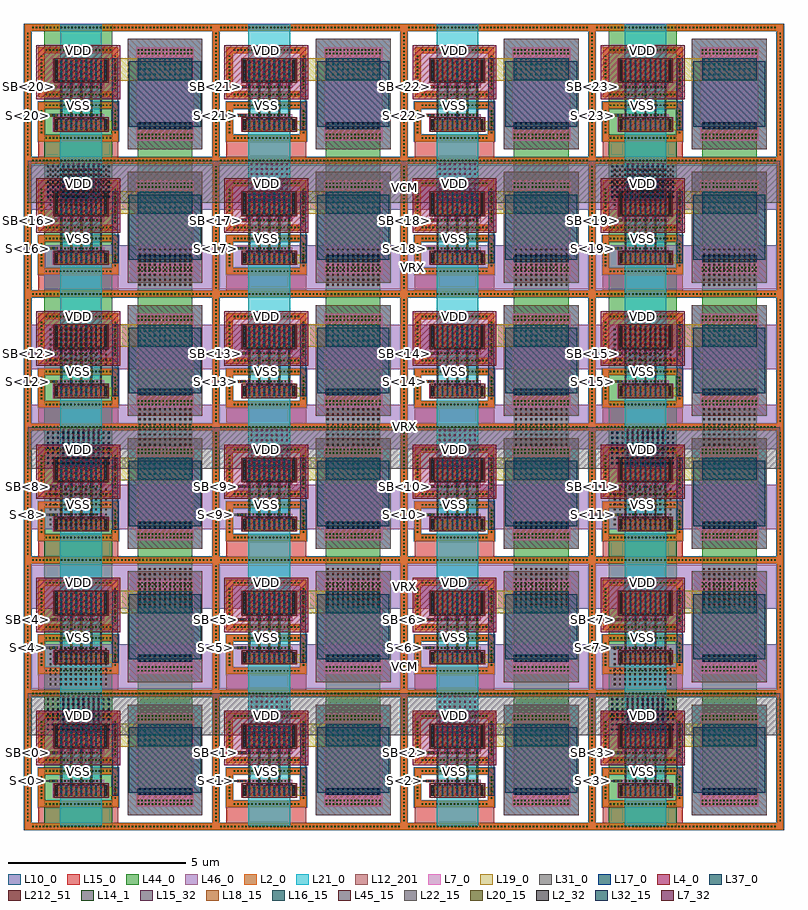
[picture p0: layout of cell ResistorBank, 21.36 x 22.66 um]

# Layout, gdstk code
import gdstk
lib = gdstk.Library(unit=1e-6, precision=1e-09)
def R(c, l, rs):  # rectangles x0, y0, x1, y1
    for r in rs: c.add(gdstk.rectangle(r[:2], r[2:], *l))
def A(c, l, x, y, w, h, nx, ny, dx, dy):  # array of equal rectangles
    R(c, l, [(x+i*dx, y+j*dy, x+i*dx+w, y+j*dy+h) for i in range(nx) for j in range(ny)])
L2_0 = (2, 0)
L2_32 = (2, 32)
L4_0 = (4, 0)
L7_0 = (7, 0)
L7_32 = (7, 32)
L10_0 = (10, 0)
L12_201 = (12, 201)
L14_1 = (14, 1)
L15_0 = (15, 0)
L15_32 = (15, 32)
L16_15 = (16, 15)
L17_0 = (17, 0)
L18_15 = (18, 15)
L19_0 = (19, 0)
L20_15 = (20, 15)
L21_0 = (21, 0)
L22_15 = (22, 15)
L31_0 = (31, 0)
L32_15 = (32, 15)
L37_0 = (37, 0)
L44_0 = (44, 0)
L45_15 = (45, 15)
L46_0 = (46, 0)
L212_51 = (212, 51)

nmosintransmissiongate = lib.new_cell('NMOSInTransmissionGate')
R(nmosintransmissiongate, L2_0, [(-0.728,-0.146,0.728,0.146)])
R(nmosintransmissiongate, L2_32, [(-0.728,-0.146,-0.652,0.146), (0.652,-0.146,0.728,0.146)])
A(nmosintransmissiongate, L7_0, -0.792, -0.203, 0.044, 0.406, 12, 1, 0.14, 0)
A(nmosintransmissiongate, L7_32, -0.652, -0.203, 0.044, 0.057, 10, 1, 0.14, 0)
A(nmosintransmissiongate, L14_1, -0.72, -0.07, 0.04, 0.04, 11, 2, 0.14, 0.1)
A(nmosintransmissiongate, L15_0, -0.725, -0.146, 0.05, 0.292, 11, 1, 0.14, 0)
A(nmosintransmissiongate, L15_32, -0.725, -0.146, 0.05, 0.292, 11, 1, 0.14, 0)
R(nmosintransmissiongate, L212_51, [(-0.77,-0.202,0.77,0.202)])

pmosintransmissiongate = lib.new_cell('PMOSInTransmissionGate')
R(pmosintransmissiongate, L2_0, [(-0.728,-0.292,0.728,0.292)])
R(pmosintransmissiongate, L2_32, [(-0.728,-0.292,-0.652,0.292), (0.652,-0.292,0.728,0.292)])
A(pmosintransmissiongate, L7_0, -0.792, -0.349, 0.044, 0.698, 12, 1, 0.14, 0)
A(pmosintransmissiongate, L7_32, -0.652, -0.349, 0.044, 0.057, 10, 1, 0.14, 0)
R(pmosintransmissiongate, L10_0, [(-0.784,-0.349,0.784,0.349)])
A(pmosintransmissiongate, L14_1, -0.72, -0.22, 0.04, 0.04, 11, 5, 0.14, 0.1)
A(pmosintransmissiongate, L15_0, -0.725, -0.292, 0.05, 0.584, 11, 1, 0.14, 0)
A(pmosintransmissiongate, L15_32, -0.725, -0.292, 0.05, 0.584, 11, 1, 0.14, 0)
R(pmosintransmissiongate, L212_51, [(-0.77,-0.348,0.77,0.348)])

viamet12met2onpmosoutput = lib.new_cell('ViaMet12Met2OnPMOSOutputInTransmissionGate')
R(viamet12met2onpmosoutput, L15_0, [(-0.025,-0.317,0.025,0.317)])
A(viamet12met2onpmosoutput, L16_15, -0.025, -0.285, 0.05, 0.05, 1, 5, 0, 0.13)
R(viamet12met2onpmosoutput, L17_0, [(-0.025,-0.317,0.025,0.317)])

viamet22met3onpmosoutput = lib.new_cell('ViaMet22Met3OnPMOSOutputInTransmissionGate')
R(viamet22met3onpmosoutput, L17_0, [(-0.025,-0.317,0.025,0.317)])
A(viamet22met3onpmosoutput, L18_15, -0.025, -0.285, 0.05, 0.05, 1, 5, 0, 0.13)
R(viamet22met3onpmosoutput, L19_0, [(-0.025,-0.317,0.025,0.317)])

viamet12met2onnmosoutput = lib.new_cell('ViaMet12Met2OnNMOSOutputInTransmissionGate')
R(viamet12met2onnmosoutput, L15_0, [(-0.025,-0.122,0.025,0.122)])
R(viamet12met2onnmosoutput, L16_15, [(-0.025,-0.09,0.025,-0.04), (-0.025,0.04,0.025,0.09)])
R(viamet12met2onnmosoutput, L17_0, [(-0.025,-0.122,0.025,0.122)])

viamet22met3onnmosoutput = lib.new_cell('ViaMet22Met3OnNMOSOutputInTransmissionGate')
R(viamet22met3onnmosoutput, L17_0, [(-0.025,-0.122,0.025,0.122)])
R(viamet22met3onnmosoutput, L18_15, [(-0.025,-0.09,0.025,-0.04), (-0.025,0.04,0.025,0.09)])
R(viamet22met3onnmosoutput, L19_0, [(-0.025,-0.122,0.025,0.122)])

viapoly2met1onpmoscontro = lib.new_cell('ViaPoly2Met1OnPMOSControlInTransmissionGate')
R(viapoly2met1onpmoscontro, L7_0, [(-0.58,-0.03,0.58,0.03)])
A(viapoly2met1onpmoscontro, L14_1, -0.57, -0.02, 0.04, 0.04, 12, 1, 0.1, 0)
R(viapoly2met1onpmoscontro, L15_0, [(-0.591,-0.041,0.591,0.041)])

viapoly2met1onnmoscontro = lib.new_cell('ViaPoly2Met1OnNMOSControlInTransmissionGate')
R(viapoly2met1onnmoscontro, L7_0, [(-0.58,-0.03,0.58,0.03)])
A(viapoly2met1onnmoscontro, L14_1, -0.57, -0.02, 0.04, 0.04, 12, 1, 0.1, 0)
R(viapoly2met1onnmoscontro, L15_0, [(-0.591,-0.041,0.591,0.041)])

transmissiongateinresist = lib.new_cell('TransmissionGateInResistorBank')
transmissiongateinresist.add(gdstk.FlexPath([(-0.63,0.379),(-0.63,0.674)], 0.044, ends="flush", simple_path=True, layer=7, datatype=0))  # L7_0
transmissiongateinresist.add(gdstk.FlexPath([(-0.49,0.379),(-0.49,0.674)], 0.044, ends="flush", simple_path=True, layer=7, datatype=0))  # L7_0
transmissiongateinresist.add(gdstk.FlexPath([(-0.35,0.379),(-0.35,0.674)], 0.044, ends="flush", simple_path=True, layer=7, datatype=0))  # L7_0
transmissiongateinresist.add(gdstk.FlexPath([(-0.21,0.379),(-0.21,0.674)], 0.044, ends="flush", simple_path=True, layer=7, datatype=0))  # L7_0
transmissiongateinresist.add(gdstk.FlexPath([(-0.07,0.379),(-0.07,0.674)], 0.044, ends="flush", simple_path=True, layer=7, datatype=0))  # L7_0
transmissiongateinresist.add(gdstk.FlexPath([(0.07,0.379),(0.07,0.674)], 0.044, ends="flush", simple_path=True, layer=7, datatype=0))  # L7_0
transmissiongateinresist.add(gdstk.FlexPath([(0.21,0.379),(0.21,0.674)], 0.044, ends="flush", simple_path=True, layer=7, datatype=0))  # L7_0
transmissiongateinresist.add(gdstk.FlexPath([(0.35,0.379),(0.35,0.674)], 0.044, ends="flush", simple_path=True, layer=7, datatype=0))  # L7_0
transmissiongateinresist.add(gdstk.FlexPath([(0.49,0.379),(0.49,0.674)], 0.044, ends="flush", simple_path=True, layer=7, datatype=0))  # L7_0
transmissiongateinresist.add(gdstk.FlexPath([(0.63,0.379),(0.63,0.674)], 0.044, ends="flush", simple_path=True, layer=7, datatype=0))  # L7_0
transmissiongateinresist.add(gdstk.FlexPath([(-0.63,1.898),(-0.63,1.408)], 0.044, ends="flush", simple_path=True, layer=7, datatype=0))  # L7_0
transmissiongateinresist.add(gdstk.FlexPath([(-0.49,1.898),(-0.49,1.408)], 0.044, ends="flush", simple_path=True, layer=7, datatype=0))  # L7_0
transmissiongateinresist.add(gdstk.FlexPath([(-0.35,1.898),(-0.35,1.408)], 0.044, ends="flush", simple_path=True, layer=7, datatype=0))  # L7_0
transmissiongateinresist.add(gdstk.FlexPath([(-0.21,1.898),(-0.21,1.408)], 0.044, ends="flush", simple_path=True, layer=7, datatype=0))  # L7_0
transmissiongateinresist.add(gdstk.FlexPath([(-0.07,1.898),(-0.07,1.408)], 0.044, ends="flush", simple_path=True, layer=7, datatype=0))  # L7_0
transmissiongateinresist.add(gdstk.FlexPath([(0.07,1.898),(0.07,1.408)], 0.044, ends="flush", simple_path=True, layer=7, datatype=0))  # L7_0
transmissiongateinresist.add(gdstk.FlexPath([(0.21,1.898),(0.21,1.408)], 0.044, ends="flush", simple_path=True, layer=7, datatype=0))  # L7_0
transmissiongateinresist.add(gdstk.FlexPath([(0.35,1.898),(0.35,1.408)], 0.044, ends="flush", simple_path=True, layer=7, datatype=0))  # L7_0
transmissiongateinresist.add(gdstk.FlexPath([(0.49,1.898),(0.49,1.408)], 0.044, ends="flush", simple_path=True, layer=7, datatype=0))  # L7_0
transmissiongateinresist.add(gdstk.FlexPath([(0.63,1.898),(0.63,1.408)], 0.044, ends="flush", simple_path=True, layer=7, datatype=0))  # L7_0
transmissiongateinresist.add(gdstk.FlexPath([(-0.63,0.644),(0.63,0.644)], 0.06, ends="flush", simple_path=True, layer=7, datatype=0))  # L7_0
transmissiongateinresist.add(gdstk.FlexPath([(-0.63,1.438),(0.63,1.438)], 0.06, ends="flush", simple_path=True, layer=7, datatype=0))  # L7_0
transmissiongateinresist.add(gdstk.Reference(nmosintransmissiongate, (0,0.379), x_reflection=True))
transmissiongateinresist.add(gdstk.Reference(pmosintransmissiongate, (0,1.898)))
transmissiongateinresist.add(gdstk.Reference(viamet12met2onpmosoutput, (-0.56,1.866)))
transmissiongateinresist.add(gdstk.Reference(viamet12met2onpmosoutput, (-0.28,1.866)))
transmissiongateinresist.add(gdstk.Reference(viamet12met2onpmosoutput, (0,1.866)))
transmissiongateinresist.add(gdstk.Reference(viamet12met2onpmosoutput, (0.28,1.866)))
transmissiongateinresist.add(gdstk.Reference(viamet12met2onpmosoutput, (0.56,1.866)))
transmissiongateinresist.add(gdstk.Reference(viamet12met2onpmosoutput, (-0.7,1.93)))
transmissiongateinresist.add(gdstk.Reference(viamet12met2onpmosoutput, (-0.42,1.93)))
transmissiongateinresist.add(gdstk.Reference(viamet12met2onpmosoutput, (-0.14,1.93)))
transmissiongateinresist.add(gdstk.Reference(viamet12met2onpmosoutput, (0.14,1.93)))
transmissiongateinresist.add(gdstk.Reference(viamet12met2onpmosoutput, (0.42,1.93)))
transmissiongateinresist.add(gdstk.Reference(viamet12met2onpmosoutput, (0.7,1.93)))
transmissiongateinresist.add(gdstk.Reference(viamet22met3onpmosoutput, (-0.7,1.93)))
transmissiongateinresist.add(gdstk.Reference(viamet22met3onpmosoutput, (-0.42,1.93)))
transmissiongateinresist.add(gdstk.Reference(viamet22met3onpmosoutput, (-0.14,1.93)))
transmissiongateinresist.add(gdstk.Reference(viamet22met3onpmosoutput, (0.14,1.93)))
transmissiongateinresist.add(gdstk.Reference(viamet22met3onpmosoutput, (0.42,1.93)))
transmissiongateinresist.add(gdstk.Reference(viamet22met3onpmosoutput, (0.7,1.93)))
transmissiongateinresist.add(gdstk.Reference(viamet12met2onnmosoutput, (-0.56,0.411)))
transmissiongateinresist.add(gdstk.Reference(viamet12met2onnmosoutput, (-0.28,0.411)))
transmissiongateinresist.add(gdstk.Reference(viamet12met2onnmosoutput, (0,0.411)))
transmissiongateinresist.add(gdstk.Reference(viamet12met2onnmosoutput, (0.28,0.411)))
transmissiongateinresist.add(gdstk.Reference(viamet12met2onnmosoutput, (0.56,0.411)))
transmissiongateinresist.add(gdstk.Reference(viamet12met2onnmosoutput, (-0.7,0.347)))
transmissiongateinresist.add(gdstk.Reference(viamet12met2onnmosoutput, (-0.42,0.347)))
transmissiongateinresist.add(gdstk.Reference(viamet12met2onnmosoutput, (-0.14,0.347)))
transmissiongateinresist.add(gdstk.Reference(viamet12met2onnmosoutput, (0.14,0.347)))
transmissiongateinresist.add(gdstk.Reference(viamet12met2onnmosoutput, (0.42,0.347)))
transmissiongateinresist.add(gdstk.Reference(viamet12met2onnmosoutput, (0.7,0.347)))
transmissiongateinresist.add(gdstk.Reference(viamet22met3onnmosoutput, (-0.7,0.347)))
transmissiongateinresist.add(gdstk.Reference(viamet22met3onnmosoutput, (-0.42,0.347)))
transmissiongateinresist.add(gdstk.Reference(viamet22met3onnmosoutput, (-0.14,0.347)))
transmissiongateinresist.add(gdstk.Reference(viamet22met3onnmosoutput, (0.14,0.347)))
transmissiongateinresist.add(gdstk.Reference(viamet22met3onnmosoutput, (0.42,0.347)))
transmissiongateinresist.add(gdstk.Reference(viamet22met3onnmosoutput, (0.7,0.347)))
transmissiongateinresist.add(gdstk.Reference(viapoly2met1onpmoscontro, (0,1.438)))
transmissiongateinresist.add(gdstk.Reference(viapoly2met1onnmoscontro, (0,0.644)))

viamet12met2oninputinres = lib.new_cell('ViaMet12Met2OnInputInResistorBank')
R(viamet12met2oninputinres, L15_0, [(-0.122,-0.025,0.122,0.025)])
R(viamet12met2oninputinres, L16_15, [(-0.09,-0.025,-0.04,0.025), (0.04,-0.025,0.09,0.025)])
R(viamet12met2oninputinres, L17_0, [(-0.122,-0.025,0.122,0.025)])

viamet22met3oninputinres = lib.new_cell('ViaMet22Met3OnInputInResistorBank')
R(viamet22met3oninputinres, L17_0, [(-0.122,-0.025,0.122,0.025)])
R(viamet22met3oninputinres, L18_15, [(-0.09,-0.025,-0.04,0.025), (0.04,-0.025,0.09,0.025)])
R(viamet22met3oninputinres, L19_0, [(-0.122,-0.025,0.122,0.025)])

viamet32met4oninputinres = lib.new_cell('ViaMet32Met4OnInputInResistorBank')
R(viamet32met4oninputinres, L19_0, [(-0.122,-0.025,0.122,0.025)])
R(viamet32met4oninputinres, L20_15, [(-0.09,-0.025,-0.04,0.025), (0.04,-0.025,0.09,0.025)])
R(viamet32met4oninputinres, L21_0, [(-0.122,-0.025,0.122,0.025)])

viamet42met5oninputinres = lib.new_cell('ViaMet42Met5OnInputInResistorBank')
R(viamet42met5oninputinres, L21_0, [(-0.122,-0.025,0.122,0.025)])
R(viamet42met5oninputinres, L22_15, [(-0.09,-0.025,-0.04,0.025), (0.04,-0.025,0.09,0.025)])
R(viamet42met5oninputinres, L31_0, [(-0.122,-0.025,0.122,0.025)])

opppcresinresistorbank = lib.new_cell('OpppcresInResistorBank')
R(opppcresinresistorbank, L7_0, [(-0.813,-1.316,0.813,1.316)])
R(opppcresinresistorbank, L10_0, [(-1.053,-1.556,1.053,1.556)])
R(opppcresinresistorbank, L12_201, [(-1.053,-1.556,1.053,1.556)])
A(opppcresinresistorbank, L14_1, -0.77, -1.256, 0.04, 0.04, 16, 2, 0.1, 0.1)
A(opppcresinresistorbank, L14_1, -0.77, 1.116, 0.04, 0.04, 16, 2, 0.1, 0.1)
R(opppcresinresistorbank, L15_0, [(-0.782,-1.268,0.782,-1.104), (-0.782,1.104,0.782,1.268)])
R(opppcresinresistorbank, L37_0, [(-1.013,-0.916,1.013,0.916)])

pmossubringinresistorban = lib.new_cell('PMOSSubringInResistorBank')
R(pmossubringinresistorban, L2_0, [(-1.123,-0.707,1.123,-0.537), (-1.123,-0.707,-0.953,0.707), (0.953,-0.707,1.123,0.707), (-1.123,0.537,1.123,0.707)])
A(pmossubringinresistorban, L14_1, -0.92, -0.642, 0.04, 0.04, 19, 2, 0.1, 1.244)
A(pmossubringinresistorban, L14_1, -1.058, -0.47, 0.04, 0.04, 1, 10, 0, 0.1)
A(pmossubringinresistorban, L14_1, 1.018, -0.47, 0.04, 0.04, 1, 10, 0, 0.1)
R(pmossubringinresistorban, L15_0, [(-1.123,-0.707,1.123,-0.537), (-1.123,-0.707,-0.953,0.707), (0.953,-0.707,1.123,0.707), (-1.123,0.537,1.123,0.707)])
pmossubringinresistorban.add(gdstk.FlexPath([(1.038,0.763),(1.038,-0.622),(-1.038,-0.622),(-1.038,0.622),(1.179,0.622)], 0.282, ends="flush", simple_path=True, layer=4, datatype=0))  # L4_0

nmossubringinresistorban = lib.new_cell('NMOSSubringInResistorBank')
R(nmossubringinresistorban, L2_0, [(-1.123,-0.546,1.123,-0.376), (-1.123,-0.546,-0.953,0.546), (0.953,-0.546,1.123,0.546), (-1.123,0.376,1.123,0.546)])
A(nmossubringinresistorban, L14_1, -0.92, -0.481, 0.04, 0.04, 19, 2, 0.1, 0.922)
A(nmossubringinresistorban, L14_1, -1.058, -0.32, 0.04, 0.04, 1, 7, 0, 0.1)
A(nmossubringinresistorban, L14_1, 1.018, -0.32, 0.04, 0.04, 1, 7, 0, 0.1)
R(nmossubringinresistorban, L15_0, [(-1.123,-0.546,1.123,-0.376), (-1.123,-0.546,-0.953,0.546), (0.953,-0.546,1.123,0.546), (-1.123,0.376,1.123,0.546)])
nmossubringinresistorban.add(gdstk.FlexPath([(1.038,0.567),(1.038,-0.461),(-1.038,-0.461),(-1.038,0.461),(1.144,0.461)], 0.212, ends="flush", simple_path=True, layer=10, datatype=0))  # L10_0

totalsubringinresistorba = lib.new_cell('TotalSubringInResistorBank')
R(totalsubringinresistorba, L2_0, [(-2.728,-1.956,2.728,-1.786), (-2.728,-1.956,-2.558,1.956), (2.558,-1.956,2.728,1.956), (-2.728,1.786,2.728,1.956)])
A(totalsubringinresistorba, L14_1, -2.52, -1.891, 0.04, 0.04, 51, 2, 0.1, 3.742)
A(totalsubringinresistorba, L14_1, -2.663, -1.72, 0.04, 0.04, 1, 35, 0, 0.1)
A(totalsubringinresistorba, L14_1, 2.623, -1.72, 0.04, 0.04, 1, 35, 0, 0.1)
R(totalsubringinresistorba, L15_0, [(-2.728,-1.956,2.728,-1.786), (-2.728,-1.956,-2.558,1.956), (2.558,-1.956,2.728,1.956), (-2.728,1.786,2.728,1.956)])
totalsubringinresistorba.add(gdstk.FlexPath([(2.643,1.977),(2.643,-1.871),(-2.643,-1.871),(-2.643,1.871),(2.749,1.871)], 0.212, ends="flush", simple_path=True, layer=10, datatype=0))  # L10_0

viamet12met2onresistorin = lib.new_cell('ViaMet12Met2OnResistorInResistorBank')
R(viamet12met2onresistorin, L15_0, [(-0.767,-0.309,0.767,0.309)])
A(viamet12met2onresistorin, L16_15, -0.735, -0.309, 0.05, 0.05, 11, 5, 0.142, 0.142)
R(viamet12met2onresistorin, L17_0, [(-0.767,-0.309,0.767,0.309)])

viamet12met2onresistor1i = lib.new_cell('ViaMet12Met2OnResistor1InResistorBank')
R(viamet12met2onresistor1i, L15_0, [(-0.767,-0.096,0.767,0.096)])
A(viamet12met2onresistor1i, L16_15, -0.735, -0.096, 0.05, 0.05, 11, 2, 0.142, 0.142)
R(viamet12met2onresistor1i, L17_0, [(-0.767,-0.096,0.767,0.096)])

viamet22met3onresistorin = lib.new_cell('ViaMet22Met3OnResistorInResistorBank')
R(viamet22met3onresistorin, L17_0, [(-0.767,-0.309,0.767,0.309)])
A(viamet22met3onresistorin, L18_15, -0.735, -0.309, 0.05, 0.05, 11, 5, 0.142, 0.142)
R(viamet22met3onresistorin, L19_0, [(-0.767,-0.309,0.767,0.309)])

viamet22met3onresistor1i = lib.new_cell('ViaMet22Met3OnResistor1InResistorBank')
R(viamet22met3onresistor1i, L17_0, [(-0.767,-0.096,0.767,0.096)])
A(viamet22met3onresistor1i, L18_15, -0.735, -0.096, 0.05, 0.05, 11, 2, 0.142, 0.142)
R(viamet22met3onresistor1i, L19_0, [(-0.767,-0.096,0.767,0.096)])

viamet32met4onresistorin = lib.new_cell('ViaMet32Met4OnResistorInResistorBank')
R(viamet32met4onresistorin, L19_0, [(-0.767,-0.096,0.767,0.096)])
A(viamet32met4onresistorin, L20_15, -0.735, -0.096, 0.05, 0.05, 11, 2, 0.142, 0.142)
R(viamet32met4onresistorin, L21_0, [(-0.767,-0.096,0.767,0.096)])

viamet42met5onresistorin = lib.new_cell('ViaMet42Met5OnResistorInResistorBank')
R(viamet42met5onresistorin, L21_0, [(-0.767,-0.096,0.767,0.096)])
A(viamet42met5onresistorin, L22_15, -0.735, -0.096, 0.05, 0.05, 11, 2, 0.142, 0.142)
R(viamet42met5onresistorin, L31_0, [(-0.767,-0.096,0.767,0.096)])

viamet52met6onresistorin = lib.new_cell('ViaMet52Met6OnResistorInResistorBank')
R(viamet52met6onresistorin, L31_0, [(-0.767,-0.096,0.767,0.096)])
A(viamet52met6onresistorin, L32_15, -0.735, -0.096, 0.05, 0.05, 11, 2, 0.142, 0.142)
R(viamet52met6onresistorin, L44_0, [(-0.767,-0.096,0.767,0.096)])

viavcmmet22met3inresisto = lib.new_cell('ViaVCMMet22Met3InResistorBank')
R(viavcmmet22met3inresisto, L17_0, [(-0.025,-0.382,0.025,0.382)])
A(viavcmmet22met3inresisto, L18_15, -0.025, -0.35, 0.05, 0.05, 1, 6, 0, 0.13)
R(viavcmmet22met3inresisto, L19_0, [(-0.025,-0.382,0.025,0.382)])

viavcmmet32met4inresisto = lib.new_cell('ViaVCMMet32Met4InResistorBank')
R(viavcmmet32met4inresisto, L19_0, [(-0.025,-0.382,0.025,0.382)])
A(viavcmmet32met4inresisto, L20_15, -0.025, -0.35, 0.05, 0.05, 1, 6, 0, 0.13)
R(viavcmmet32met4inresisto, L21_0, [(-0.025,-0.382,0.025,0.382)])

viatgpmos2resmet22met3in = lib.new_cell('ViaTGPMOS2ResMet22Met3InResistorBank')
R(viatgpmos2resmet22met3in, L17_0, [(-0.057,-0.285,0.057,0.285)])
A(viatgpmos2resmet22met3in, L18_15, -0.025, -0.285, 0.05, 0.05, 1, 5, 0, 0.13)
R(viatgpmos2resmet22met3in, L19_0, [(-0.057,-0.285,0.057,0.285)])

viatgnmos2resmet22met3in = lib.new_cell('ViaTGNMOS2ResMet22Met3InResistorBank')
R(viatgnmos2resmet22met3in, L17_0, [(-0.057,-0.09,0.057,0.09)])
R(viatgnmos2resmet22met3in, L18_15, [(-0.025,-0.09,0.025,-0.04), (-0.025,0.04,0.025,0.09)])
R(viatgnmos2resmet22met3in, L19_0, [(-0.057,-0.09,0.057,0.09)])

resistorbankinfullresist = lib.new_cell('ResistorBankInFullResistorBank')
R(resistorbankinfullresist, L15_0, [(-1.203,-0.72,1.043,0.084)])
A(resistorbankinfullresist, L17_0, -0.585, 0.289, 0.05, 1.894, 5, 1, 0.28, 0)
R(resistorbankinfullresist, L21_0, [(-0.56,0.659,0.56,1.423)])
resistorbankinfullresist.add(gdstk.FlexPath([(-0.773,1.438),(-1.5,1.438)], 0.05, ends="flush", simple_path=True, layer=31, datatype=0))  # L31_0
resistorbankinfullresist.add(gdstk.FlexPath([(-0.773,0.644),(-1.5,0.644)], 0.05, ends="flush", simple_path=True, layer=31, datatype=0))  # L31_0
resistorbankinfullresist.add(gdstk.FlexPath([(-1.033,1.85),(0.873,1.85)], 1.073, ends="flush", simple_path=True, layer=4, datatype=0))  # L4_0
resistorbankinfullresist.add(gdstk.FlexPath([(-0.895,1.438),(0,1.438)], 0.082, ends="flush", simple_path=True, layer=15, datatype=0))  # L15_0
resistorbankinfullresist.add(gdstk.FlexPath([(-0.895,0.644),(0,0.644)], 0.082, ends="flush", simple_path=True, layer=15, datatype=0))  # L15_0
resistorbankinfullresist.add(gdstk.FlexPath([(2.356,1.621),(2.356,2.504)], 1.564, ends="flush", simple_path=True, layer=15, datatype=0))  # L15_0
resistorbankinfullresist.add(gdstk.FlexPath([(2.356,0.443),(2.356,-0.032)], 1.564, ends="flush", simple_path=True, layer=15, datatype=0))  # L15_0
resistorbankinfullresist.add(gdstk.FlexPath([(-0.7,1.93),(3.123,1.93)], 0.634, ends="flush", simple_path=True, layer=19, datatype=0))  # L19_0
resistorbankinfullresist.add(gdstk.FlexPath([(-0.7,0.347),(1.043,0.347)], 0.244, ends="flush", simple_path=True, layer=19, datatype=0))  # L19_0
resistorbankinfullresist.add(gdstk.FlexPath([(0.958,2.247),(0.958,0.225)], 0.17, ends="flush", simple_path=True, layer=17, datatype=0))  # L17_0
resistorbankinfullresist.add(gdstk.Reference(transmissiongateinresist, (0,0)))
resistorbankinfullresist.add(gdstk.Reference(viamet12met2oninputinres, (-0.773,1.438)))
resistorbankinfullresist.add(gdstk.Reference(viamet12met2oninputinres, (-0.773,0.644)))
resistorbankinfullresist.add(gdstk.Reference(viamet22met3oninputinres, (-0.773,1.438)))
resistorbankinfullresist.add(gdstk.Reference(viamet22met3oninputinres, (-0.773,0.644)))
resistorbankinfullresist.add(gdstk.Reference(viamet32met4oninputinres, (-0.773,1.438)))
resistorbankinfullresist.add(gdstk.Reference(viamet32met4oninputinres, (-0.773,0.644)))
resistorbankinfullresist.add(gdstk.Reference(viamet42met5oninputinres, (-0.773,1.438)))
resistorbankinfullresist.add(gdstk.Reference(viamet42met5oninputinres, (-0.773,0.644)))
resistorbankinfullresist.add(gdstk.Reference(opppcresinresistorbank, (2.356,1.236)))
resistorbankinfullresist.add(gdstk.Reference(pmossubringinresistorban, (-0.08,1.85)))
resistorbankinfullresist.add(gdstk.Reference(nmossubringinresistorban, (-0.08,0.461)))
resistorbankinfullresist.add(gdstk.Reference(totalsubringinresistorba, (1.143,1.236)))
resistorbankinfullresist.add(gdstk.Reference(viamet12met2onresistorin, (2.356,1.93)))
resistorbankinfullresist.add(gdstk.Reference(viamet12met2onresistor1i, (2.356,0.347)))
resistorbankinfullresist.add(gdstk.Reference(viamet22met3onresistorin, (2.356,1.93)))
resistorbankinfullresist.add(gdstk.Reference(viamet22met3onresistor1i, (2.356,0.347)))
resistorbankinfullresist.add(gdstk.Reference(viamet32met4onresistorin, (2.356,0.347)))
resistorbankinfullresist.add(gdstk.Reference(viamet42met5onresistorin, (2.356,0.347)))
resistorbankinfullresist.add(gdstk.Reference(viamet52met6onresistorin, (2.356,0.347)))
resistorbankinfullresist.add(gdstk.Reference(viavcmmet22met3inresisto, (-0.56,1.041)))
resistorbankinfullresist.add(gdstk.Reference(viavcmmet22met3inresisto, (-0.28,1.041)))
resistorbankinfullresist.add(gdstk.Reference(viavcmmet22met3inresisto, (0,1.041)))
resistorbankinfullresist.add(gdstk.Reference(viavcmmet22met3inresisto, (0.28,1.041)))
resistorbankinfullresist.add(gdstk.Reference(viavcmmet22met3inresisto, (0.56,1.041)))
resistorbankinfullresist.add(gdstk.Reference(viavcmmet32met4inresisto, (-0.56,1.041)))
resistorbankinfullresist.add(gdstk.Reference(viavcmmet32met4inresisto, (-0.28,1.041)))
resistorbankinfullresist.add(gdstk.Reference(viavcmmet32met4inresisto, (0,1.041)))
resistorbankinfullresist.add(gdstk.Reference(viavcmmet32met4inresisto, (0.28,1.041)))
resistorbankinfullresist.add(gdstk.Reference(viavcmmet32met4inresisto, (0.56,1.041)))
resistorbankinfullresist.add(gdstk.Reference(viatgpmos2resmet22met3in, (0.958,1.93)))
resistorbankinfullresist.add(gdstk.Reference(viatgnmos2resmet22met3in, (0.958,0.347)))
resistorbankinfullresist.add(gdstk.Label('VDD', (-0.08,2.472), layer=15, texttype=20))
resistorbankinfullresist.add(gdstk.Label('VSS', (-0.08,-0.318), layer=15, texttype=20))
resistorbankinfullresist.add(gdstk.Label('S', (-1.5,0.644), layer=31, texttype=20))
resistorbankinfullresist.add(gdstk.Label('SB', (-1.5,1.438), layer=31, texttype=20))
resistorbankinfullresist.add(gdstk.Label('VRX', (2.356,0.347), layer=44, texttype=20))
resistorbankinfullresist.add(gdstk.Label('VCM', (0,1.041), layer=21, texttype=20))

viamet42met5onvcminfullr = lib.new_cell('ViaMet42Met5OnVCMInFullResistorBank')
R(viamet42met5onvcminfullr, L21_0, [(-0.522,-0.554,0.522,0.554)])
A(viamet42met5onvcminfullr, L22_15, -0.522, -0.522, 0.05, 0.05, 8, 8, 0.142, 0.142)
R(viamet42met5onvcminfullr, L31_0, [(-0.522,-0.554,0.522,0.554)])

viamet52met6onvcminfullr = lib.new_cell('ViaMet52Met6OnVCMInFullResistorBank')
R(viamet52met6onvcminfullr, L31_0, [(-0.877,-0.483,0.877,0.483)])
A(viamet52met6onvcminfullr, L32_15, -0.877, -0.451, 0.05, 0.05, 13, 7, 0.142, 0.142)
R(viamet52met6onvcminfullr, L44_0, [(-0.877,-0.483,0.877,0.483)])

viamet62met7onvrxinfullr = lib.new_cell('ViaMet62Met7OnVRXInFullResistorBank')
R(viamet62met7onvrxinfullr, L44_0, [(-0.735,-0.554,0.735,0.554)])
A(viamet62met7onvrxinfullr, L45_15, -0.735, -0.522, 0.05, 0.05, 11, 8, 0.142, 0.142)
R(viamet62met7onvrxinfullr, L46_0, [(-0.735,-0.554,0.735,0.554)])

viamet62met7onvcminfullr = lib.new_cell('ViaMet62Met7OnVCMInFullResistorBank')
R(viamet62met7onvcminfullr, L44_0, [(-0.838,-0.522,0.838,0.522)])
A(viamet62met7onvcminfullr, L45_15, -0.806, -0.522, 0.05, 0.05, 12, 8, 0.142, 0.142)
R(viamet62met7onvcminfullr, L46_0, [(-0.838,-0.522,0.838,0.522)])

resistorbank = lib.new_cell('ResistorBank')
resistorbank.add(gdstk.FlexPath([(0,-0.634),(0,21.902)], 1.17, ends="flush", simple_path=True, layer=21, datatype=0))  # L21_0
resistorbank.add(gdstk.FlexPath([(5.286,-0.634),(5.286,21.902)], 1.17, ends="flush", simple_path=True, layer=21, datatype=0))  # L21_0
resistorbank.add(gdstk.FlexPath([(10.572,-0.634),(10.572,21.902)], 1.17, ends="flush", simple_path=True, layer=21, datatype=0))  # L21_0
resistorbank.add(gdstk.FlexPath([(15.858,-0.634),(15.858,21.902)], 1.17, ends="flush", simple_path=True, layer=21, datatype=0))  # L21_0
resistorbank.add(gdstk.FlexPath([(-1.5,2.518),(19.644,2.518)], 1.178, ends="flush", simple_path=True, layer=31, datatype=0))  # L31_0
resistorbank.add(gdstk.FlexPath([(-1.5,10.002),(19.644,10.002)], 1.178, ends="flush", simple_path=True, layer=31, datatype=0))  # L31_0
resistorbank.add(gdstk.FlexPath([(-1.5,17.486),(19.644,17.486)], 1.178, ends="flush", simple_path=True, layer=31, datatype=0))  # L31_0
resistorbank.add(gdstk.FlexPath([(-0.08,-0.634),(-0.08,21.902)], 1.906, ends="flush", simple_path=True, layer=44, datatype=0))  # L44_0
resistorbank.add(gdstk.FlexPath([(15.778,-0.634),(15.778,21.902)], 1.906, ends="flush", simple_path=True, layer=44, datatype=0))  # L44_0
resistorbank.add(gdstk.FlexPath([(2.356,0.347),(2.356,19.057)], 1.534, ends="flush", simple_path=True, layer=44, datatype=0))  # L44_0
resistorbank.add(gdstk.FlexPath([(7.642,0.347),(7.642,19.057)], 1.534, ends="flush", simple_path=True, layer=44, datatype=0))  # L44_0
resistorbank.add(gdstk.FlexPath([(12.928,0.347),(12.928,19.057)], 1.534, ends="flush", simple_path=True, layer=44, datatype=0))  # L44_0
resistorbank.add(gdstk.FlexPath([(18.214,0.347),(18.214,19.057)], 1.534, ends="flush", simple_path=True, layer=44, datatype=0))  # L44_0
resistorbank.add(gdstk.FlexPath([(-1.5,3.856),(19.644,3.856)], 1.25, ends="flush", simple_path=True, layer=46, datatype=0))  # L46_0
resistorbank.add(gdstk.FlexPath([(-1.5,8.346),(19.644,8.346)], 1.25, ends="flush", simple_path=True, layer=46, datatype=0))  # L46_0
resistorbank.add(gdstk.FlexPath([(-1.5,12.836),(19.644,12.836)], 1.25, ends="flush", simple_path=True, layer=46, datatype=0))  # L46_0
resistorbank.add(gdstk.FlexPath([(-1.5,17.326),(19.644,17.326)], 1.25, ends="flush", simple_path=True, layer=46, datatype=0))  # L46_0
resistorbank.add(gdstk.FlexPath([(-1.5,6.102),(19.644,6.102)], 1.24, ends="flush", simple_path=True, layer=46, datatype=0))  # L46_0
resistorbank.add(gdstk.FlexPath([(-1.5,10.592),(19.644,10.592)], 1.24, ends="flush", simple_path=True, layer=46, datatype=0))  # L46_0
resistorbank.add(gdstk.FlexPath([(-1.033,15.082),(19.644,15.082)], 1.24, ends="flush", simple_path=True, layer=46, datatype=0))  # L46_0
resistorbank.add(gdstk.Reference(resistorbankinfullresist, (0,0)))
resistorbank.add(gdstk.Reference(resistorbankinfullresist, (0,3.742)))
resistorbank.add(gdstk.Reference(resistorbankinfullresist, (0,7.484)))
resistorbank.add(gdstk.Reference(resistorbankinfullresist, (0,11.226)))
resistorbank.add(gdstk.Reference(resistorbankinfullresist, (0,14.968)))
resistorbank.add(gdstk.Reference(resistorbankinfullresist, (0,18.71)))
resistorbank.add(gdstk.Reference(resistorbankinfullresist, (5.286,0)))
resistorbank.add(gdstk.Reference(resistorbankinfullresist, (5.286,3.742)))
resistorbank.add(gdstk.Reference(resistorbankinfullresist, (5.286,7.484)))
resistorbank.add(gdstk.Reference(resistorbankinfullresist, (5.286,11.226)))
resistorbank.add(gdstk.Reference(resistorbankinfullresist, (5.286,14.968)))
resistorbank.add(gdstk.Reference(resistorbankinfullresist, (5.286,18.71)))
resistorbank.add(gdstk.Reference(resistorbankinfullresist, (10.572,0)))
resistorbank.add(gdstk.Reference(resistorbankinfullresist, (10.572,3.742)))
resistorbank.add(gdstk.Reference(resistorbankinfullresist, (10.572,7.484)))
resistorbank.add(gdstk.Reference(resistorbankinfullresist, (10.572,11.226)))
resistorbank.add(gdstk.Reference(resistorbankinfullresist, (10.572,14.968)))
resistorbank.add(gdstk.Reference(resistorbankinfullresist, (10.572,18.71)))
resistorbank.add(gdstk.Reference(resistorbankinfullresist, (15.858,0)))
resistorbank.add(gdstk.Reference(resistorbankinfullresist, (15.858,3.742)))
resistorbank.add(gdstk.Reference(resistorbankinfullresist, (15.858,7.484)))
resistorbank.add(gdstk.Reference(resistorbankinfullresist, (15.858,11.226)))
resistorbank.add(gdstk.Reference(resistorbankinfullresist, (15.858,14.968)))
resistorbank.add(gdstk.Reference(resistorbankinfullresist, (15.858,18.71)))
resistorbank.add(gdstk.Reference(viamet42met5onvcminfullr, (0,2.518)))
resistorbank.add(gdstk.Reference(viamet42met5onvcminfullr, (0,10.002)))
resistorbank.add(gdstk.Reference(viamet42met5onvcminfullr, (0,17.486)))
resistorbank.add(gdstk.Reference(viamet42met5onvcminfullr, (5.286,2.518)))
resistorbank.add(gdstk.Reference(viamet42met5onvcminfullr, (5.286,10.002)))
resistorbank.add(gdstk.Reference(viamet42met5onvcminfullr, (5.286,17.486)))
resistorbank.add(gdstk.Reference(viamet42met5onvcminfullr, (10.572,2.518)))
resistorbank.add(gdstk.Reference(viamet42met5onvcminfullr, (10.572,10.002)))
resistorbank.add(gdstk.Reference(viamet42met5onvcminfullr, (10.572,17.486)))
resistorbank.add(gdstk.Reference(viamet42met5onvcminfullr, (15.858,2.518)))
resistorbank.add(gdstk.Reference(viamet42met5onvcminfullr, (15.858,10.002)))
resistorbank.add(gdstk.Reference(viamet42met5onvcminfullr, (15.858,17.486)))
resistorbank.add(gdstk.Reference(viamet52met6onvcminfullr, (-0.08,2.518)))
resistorbank.add(gdstk.Reference(viamet52met6onvcminfullr, (-0.08,10.002)))
resistorbank.add(gdstk.Reference(viamet52met6onvcminfullr, (-0.08,17.486)))
resistorbank.add(gdstk.Reference(viamet52met6onvcminfullr, (15.778,2.518)))
resistorbank.add(gdstk.Reference(viamet52met6onvcminfullr, (15.778,10.002)))
resistorbank.add(gdstk.Reference(viamet52met6onvcminfullr, (15.778,17.486)))
resistorbank.add(gdstk.Reference(viamet62met7onvrxinfullr, (2.356,6.102)))
resistorbank.add(gdstk.Reference(viamet62met7onvrxinfullr, (2.356,10.592)))
resistorbank.add(gdstk.Reference(viamet62met7onvrxinfullr, (2.356,15.082)))
resistorbank.add(gdstk.Reference(viamet62met7onvrxinfullr, (7.642,6.102)))
resistorbank.add(gdstk.Reference(viamet62met7onvrxinfullr, (7.642,10.592)))
resistorbank.add(gdstk.Reference(viamet62met7onvrxinfullr, (7.642,15.082)))
resistorbank.add(gdstk.Reference(viamet62met7onvrxinfullr, (12.928,6.102)))
resistorbank.add(gdstk.Reference(viamet62met7onvrxinfullr, (12.928,10.592)))
resistorbank.add(gdstk.Reference(viamet62met7onvrxinfullr, (12.928,15.082)))
resistorbank.add(gdstk.Reference(viamet62met7onvrxinfullr, (18.214,6.102)))
resistorbank.add(gdstk.Reference(viamet62met7onvrxinfullr, (18.214,10.592)))
resistorbank.add(gdstk.Reference(viamet62met7onvrxinfullr, (18.214,15.082)))
resistorbank.add(gdstk.Reference(viamet62met7onvcminfullr, (-0.08,3.856)))
resistorbank.add(gdstk.Reference(viamet62met7onvcminfullr, (-0.08,8.346)))
resistorbank.add(gdstk.Reference(viamet62met7onvcminfullr, (-0.08,12.836)))
resistorbank.add(gdstk.Reference(viamet62met7onvcminfullr, (-0.08,17.326)))
resistorbank.add(gdstk.Reference(viamet62met7onvcminfullr, (15.778,3.856)))
resistorbank.add(gdstk.Reference(viamet62met7onvcminfullr, (15.778,8.346)))
resistorbank.add(gdstk.Reference(viamet62met7onvcminfullr, (15.778,12.836)))
resistorbank.add(gdstk.Reference(viamet62met7onvcminfullr, (15.778,17.326)))
resistorbank.add(gdstk.Label('S<0>', (-1.5,0.644), layer=31, texttype=20))
resistorbank.add(gdstk.Label('SB<0>', (-1.5,1.438), layer=31, texttype=20))
resistorbank.add(gdstk.Label('S<4>', (-1.5,4.386), layer=31, texttype=20))
resistorbank.add(gdstk.Label('SB<4>', (-1.5,5.18), layer=31, texttype=20))
resistorbank.add(gdstk.Label('S<8>', (-1.5,8.128), layer=31, texttype=20))
resistorbank.add(gdstk.Label('SB<8>', (-1.5,8.922), layer=31, texttype=20))
resistorbank.add(gdstk.Label('S<12>', (-1.5,11.87), layer=31, texttype=20))
resistorbank.add(gdstk.Label('SB<12>', (-1.5,12.664), layer=31, texttype=20))
resistorbank.add(gdstk.Label('S<16>', (-1.5,15.612), layer=31, texttype=20))
resistorbank.add(gdstk.Label('SB<16>', (-1.5,16.406), layer=31, texttype=20))
resistorbank.add(gdstk.Label('S<20>', (-1.5,19.354), layer=31, texttype=20))
resistorbank.add(gdstk.Label('SB<20>', (-1.5,20.148), layer=31, texttype=20))
resistorbank.add(gdstk.Label('S<1>', (3.786,0.644), layer=31, texttype=20))
resistorbank.add(gdstk.Label('SB<1>', (3.786,1.438), layer=31, texttype=20))
resistorbank.add(gdstk.Label('S<5>', (3.786,4.386), layer=31, texttype=20))
resistorbank.add(gdstk.Label('SB<5>', (3.786,5.18), layer=31, texttype=20))
resistorbank.add(gdstk.Label('S<9>', (3.786,8.128), layer=31, texttype=20))
resistorbank.add(gdstk.Label('SB<9>', (3.786,8.922), layer=31, texttype=20))
resistorbank.add(gdstk.Label('S<13>', (3.786,11.87), layer=31, texttype=20))
resistorbank.add(gdstk.Label('SB<13>', (3.786,12.664), layer=31, texttype=20))
resistorbank.add(gdstk.Label('S<17>', (3.786,15.612), layer=31, texttype=20))
resistorbank.add(gdstk.Label('SB<17>', (3.786,16.406), layer=31, texttype=20))
resistorbank.add(gdstk.Label('S<21>', (3.786,19.354), layer=31, texttype=20))
resistorbank.add(gdstk.Label('SB<21>', (3.786,20.148), layer=31, texttype=20))
resistorbank.add(gdstk.Label('S<2>', (9.072,0.644), layer=31, texttype=20))
resistorbank.add(gdstk.Label('SB<2>', (9.072,1.438), layer=31, texttype=20))
resistorbank.add(gdstk.Label('S<6>', (9.072,4.386), layer=31, texttype=20))
resistorbank.add(gdstk.Label('SB<6>', (9.072,5.18), layer=31, texttype=20))
resistorbank.add(gdstk.Label('S<10>', (9.072,8.128), layer=31, texttype=20))
resistorbank.add(gdstk.Label('SB<10>', (9.072,8.922), layer=31, texttype=20))
resistorbank.add(gdstk.Label('S<14>', (9.072,11.87), layer=31, texttype=20))
resistorbank.add(gdstk.Label('SB<14>', (9.072,12.664), layer=31, texttype=20))
resistorbank.add(gdstk.Label('S<18>', (9.072,15.612), layer=31, texttype=20))
resistorbank.add(gdstk.Label('SB<18>', (9.072,16.406), layer=31, texttype=20))
resistorbank.add(gdstk.Label('S<22>', (9.072,19.354), layer=31, texttype=20))
resistorbank.add(gdstk.Label('SB<22>', (9.072,20.148), layer=31, texttype=20))
resistorbank.add(gdstk.Label('S<3>', (14.358,0.644), layer=31, texttype=20))
resistorbank.add(gdstk.Label('SB<3>', (14.358,1.438), layer=31, texttype=20))
resistorbank.add(gdstk.Label('S<7>', (14.358,4.386), layer=31, texttype=20))
resistorbank.add(gdstk.Label('SB<7>', (14.358,5.18), layer=31, texttype=20))
resistorbank.add(gdstk.Label('S<11>', (14.358,8.128), layer=31, texttype=20))
resistorbank.add(gdstk.Label('SB<11>', (14.358,8.922), layer=31, texttype=20))
resistorbank.add(gdstk.Label('S<15>', (14.358,11.87), layer=31, texttype=20))
resistorbank.add(gdstk.Label('SB<15>', (14.358,12.664), layer=31, texttype=20))
resistorbank.add(gdstk.Label('S<19>', (14.358,15.612), layer=31, texttype=20))
resistorbank.add(gdstk.Label('SB<19>', (14.358,16.406), layer=31, texttype=20))
resistorbank.add(gdstk.Label('S<23>', (14.358,19.354), layer=31, texttype=20))
resistorbank.add(gdstk.Label('SB<23>', (14.358,20.148), layer=31, texttype=20))
resistorbank.add(gdstk.Label('VRX', (9.072,6.102), layer=46, texttype=20))
resistorbank.add(gdstk.Label('VRX', (9.072,10.592), layer=46, texttype=20))
resistorbank.add(gdstk.Label('VRX', (9.305,15.082), layer=46, texttype=20))
resistorbank.add(gdstk.Label('VDD', (-0.08,2.472), layer=15, texttype=20))
resistorbank.add(gdstk.Label('VDD', (-0.08,6.214), layer=15, texttype=20))
resistorbank.add(gdstk.Label('VDD', (-0.08,9.956), layer=15, texttype=20))
resistorbank.add(gdstk.Label('VDD', (-0.08,13.698), layer=15, texttype=20))
resistorbank.add(gdstk.Label('VDD', (-0.08,17.44), layer=15, texttype=20))
resistorbank.add(gdstk.Label('VDD', (-0.08,21.182), layer=15, texttype=20))
resistorbank.add(gdstk.Label('VDD', (5.206,2.472), layer=15, texttype=20))
resistorbank.add(gdstk.Label('VDD', (5.206,6.214), layer=15, texttype=20))
resistorbank.add(gdstk.Label('VDD', (5.206,9.956), layer=15, texttype=20))
resistorbank.add(gdstk.Label('VDD', (5.206,13.698), layer=15, texttype=20))
resistorbank.add(gdstk.Label('VDD', (5.206,17.44), layer=15, texttype=20))
resistorbank.add(gdstk.Label('VDD', (5.206,21.182), layer=15, texttype=20))
resistorbank.add(gdstk.Label('VDD', (10.492,2.472), layer=15, texttype=20))
resistorbank.add(gdstk.Label('VDD', (10.492,6.214), layer=15, texttype=20))
resistorbank.add(gdstk.Label('VDD', (10.492,9.956), layer=15, texttype=20))
resistorbank.add(gdstk.Label('VDD', (10.492,13.698), layer=15, texttype=20))
resistorbank.add(gdstk.Label('VDD', (10.492,17.44), layer=15, texttype=20))
resistorbank.add(gdstk.Label('VDD', (10.492,21.182), layer=15, texttype=20))
resistorbank.add(gdstk.Label('VDD', (15.778,2.472), layer=15, texttype=20))
resistorbank.add(gdstk.Label('VDD', (15.778,6.214), layer=15, texttype=20))
resistorbank.add(gdstk.Label('VDD', (15.778,9.956), layer=15, texttype=20))
resistorbank.add(gdstk.Label('VDD', (15.778,13.698), layer=15, texttype=20))
resistorbank.add(gdstk.Label('VDD', (15.778,17.44), layer=15, texttype=20))
resistorbank.add(gdstk.Label('VDD', (15.778,21.182), layer=15, texttype=20))
resistorbank.add(gdstk.Label('VSS', (-0.08,0.922), layer=15, texttype=20))
resistorbank.add(gdstk.Label('VSS', (-0.08,4.664), layer=15, texttype=20))
resistorbank.add(gdstk.Label('VSS', (-0.08,8.406), layer=15, texttype=20))
resistorbank.add(gdstk.Label('VSS', (-0.08,12.148), layer=15, texttype=20))
resistorbank.add(gdstk.Label('VSS', (-0.08,15.89), layer=15, texttype=20))
resistorbank.add(gdstk.Label('VSS', (-0.08,19.632), layer=15, texttype=20))
resistorbank.add(gdstk.Label('VSS', (5.206,0.922), layer=15, texttype=20))
resistorbank.add(gdstk.Label('VSS', (5.206,4.664), layer=15, texttype=20))
resistorbank.add(gdstk.Label('VSS', (5.206,8.406), layer=15, texttype=20))
resistorbank.add(gdstk.Label('VSS', (5.206,12.148), layer=15, texttype=20))
resistorbank.add(gdstk.Label('VSS', (5.206,15.89), layer=15, texttype=20))
resistorbank.add(gdstk.Label('VSS', (5.206,19.632), layer=15, texttype=20))
resistorbank.add(gdstk.Label('VSS', (10.492,0.922), layer=15, texttype=20))
resistorbank.add(gdstk.Label('VSS', (10.492,4.664), layer=15, texttype=20))
resistorbank.add(gdstk.Label('VSS', (10.492,8.406), layer=15, texttype=20))
resistorbank.add(gdstk.Label('VSS', (10.492,12.148), layer=15, texttype=20))
resistorbank.add(gdstk.Label('VSS', (10.492,15.89), layer=15, texttype=20))
resistorbank.add(gdstk.Label('VSS', (10.492,19.632), layer=15, texttype=20))
resistorbank.add(gdstk.Label('VSS', (15.778,0.922), layer=15, texttype=20))
resistorbank.add(gdstk.Label('VSS', (15.778,4.664), layer=15, texttype=20))
resistorbank.add(gdstk.Label('VSS', (15.778,8.406), layer=15, texttype=20))
resistorbank.add(gdstk.Label('VSS', (15.778,12.148), layer=15, texttype=20))
resistorbank.add(gdstk.Label('VSS', (15.778,15.89), layer=15, texttype=20))
resistorbank.add(gdstk.Label('VSS', (15.778,19.632), layer=15, texttype=20))
resistorbank.add(gdstk.Label('VCM', (9.072,3.856), layer=46, texttype=20))
resistorbank.add(gdstk.Label('VCM', (9.072,8.346), layer=46, texttype=20))
resistorbank.add(gdstk.Label('VCM', (9.072,12.836), layer=46, texttype=20))
resistorbank.add(gdstk.Label('VCM', (9.072,17.326), layer=46, texttype=20))

lib.write_gds('ResistorBank.gds')
